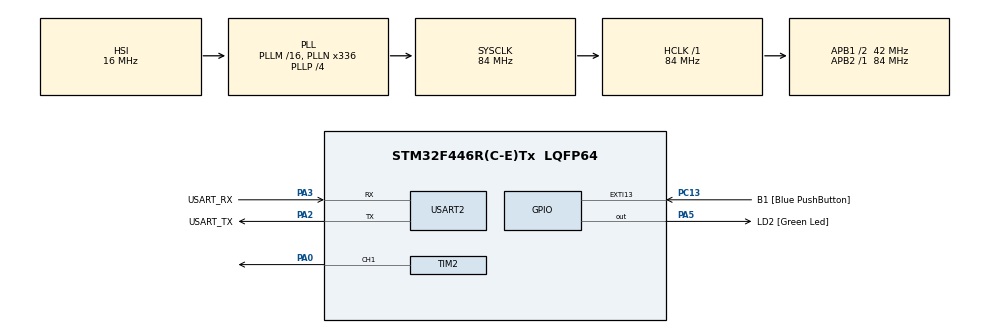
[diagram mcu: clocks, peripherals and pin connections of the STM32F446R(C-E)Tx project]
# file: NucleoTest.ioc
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Mcu.Family=STM32F4
Mcu.Name=STM32F446R(C-E)Tx
Mcu.Package=LQFP64
NVIC.PriorityGroup=NVIC_PRIORITYGROUP_0
PA0-WKUP.Signal=S_TIM2_CH1_ETR
PA13.GPIO_Label=TMS
PA13.Mode=Serial_Wire
PA13.Signal=SYS_JTMS-SWDIO
PA14.GPIO_Label=TCK
PA14.Mode=Serial_Wire
PA14.Signal=SYS_JTCK-SWCLK
PA2.GPIO_Label=USART_TX
PA2.Mode=Asynchronous
PA2.Signal=USART2_TX
PA3.GPIO_Label=USART_RX
PA3.Mode=Asynchronous
PA3.Signal=USART2_RX
PA5.GPIO_Label=LD2 [Green Led]
PA5.Signal=GPIO_Output
PB3.GPIO_Label=SWO
PB3.Signal=SYS_JTDO-SWO
PC13.GPIO_Label=B1 [Blue PushButton]
PC13.GPIO_ModeDefaultEXTI=GPIO_MODE_IT_FALLING
PC13.Signal=GPXTI13
PC14-OSC32_IN.Mode=LSE-External-Oscillator
PC14-OSC32_IN.Signal=RCC_OSC32_IN
PC15-OSC32_OUT.Mode=LSE-External-Oscillator
PC15-OSC32_OUT.Signal=RCC_OSC32_OUT
PH0-OSC_IN.Mode=HSE-External-Oscillator
PH0-OSC_IN.Signal=RCC_OSC_IN
PH1-OSC_OUT.Mode=HSE-External-Oscillator
PH1-OSC_OUT.Signal=RCC_OSC_OUT
ProjectManager.HeapSize=0x200
ProjectManager.StackSize=0x400
ProjectManager.TargetToolchain=STM32CubeIDE
RCC.48MHZClocksFreq_Value=84000000
RCC.AHBFreq_Value=84000000
RCC.APB1CLKDivider=RCC_HCLK_DIV2
RCC.APB1Freq_Value=42000000
RCC.APB1TimFreq_Value=84000000
RCC.APB2Freq_Value=84000000
RCC.APB2TimFreq_Value=84000000
RCC.CortexFreq_Value=84000000
RCC.FLatency-AdvancedSettings=FLASH_LATENCY_2
RCC.HCLKFreq_Value=84000000
RCC.HSE_VALUE=8000000
RCC.HSI_VALUE=16000000
RCC.PLLN=336
RCC.PLLP=RCC_PLLP_DIV4
RCC.SYSCLKFreq_VALUE=84000000
RCC.SYSCLKSource=RCC_SYSCLKSOURCE_PLLCLK
RCC.USBFreq_Value=168000000
RCC.VCOOutputFreq_Value=336000000
SH.S_TIM2_CH1_ETR.0=TIM2_CH1,PWM Generation1 CH1
TIM2.Channel-PWM\ Generation1\ CH1=TIM_CHANNEL_1
TIM2.Period=19999
TIM2.Prescaler=89
USART2.VirtualMode=VM_ASYNC
VP_TIM2_VS_ClockSourceINT.Mode=Internal
board=NUCLEO-F446RE

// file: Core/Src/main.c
/* USER CODE BEGIN Header */
/**
 ******************************************************************************
 * @file           : main.c
 * @brief          : Main program body
 ******************************************************************************
 * @attention
 *
 * Copyright (c) 2025 STMicroelectronics.
 * All rights reserved.
 *
 * This software is licensed under terms that can be found in the LICENSE file
 * in the root directory of this software component.
 * If no LICENSE file comes with this software, it is provided AS-IS.
 *
 ******************************************************************************
 */
/* USER CODE END Header */
#include "main.h"

/* USER CODE BEGIN Includes */
#include <stdint.h>

/* USER CODE END Includes */

TIM_HandleTypeDef htim2;

UART_HandleTypeDef huart2;

void SystemClock_Config(void);
static void MX_GPIO_Init(void);
static void MX_USART2_UART_Init(void);
static void MX_TIM2_Init(void);

int main(void) {

    /* MCU Configuration--------------------------------------------------------*/

    /* Reset of all peripherals, Initializes the Flash interface and the Systick. */
    HAL_Init();

    /* Configure the system clock */
    SystemClock_Config();

    /* Initialize all configured peripherals */
    MX_GPIO_Init();
    MX_USART2_UART_Init();
    MX_TIM2_Init();
    /* USER CODE BEGIN 2 */
    HAL_TIM_PWM_Start(&htim2, TIM_CHANNEL_1);

    /* USER CODE END 2 */

    /* Infinite loop */
    /* USER CODE BEGIN WHILE */
    uint16_t pwm_values[]    = {1500, 1550};
	const size_t pwm_values_len = 2;
    uint8_t pwm_values_idx   = 0;
    uint8_t b1_last_state    = 0;
    uint32_t last_press_tick = 0;
    HAL_GPIO_WritePin(LD2_GPIO_Port, LD2_Pin, pwm_values_idx == 0 ? GPIO_PIN_SET : GPIO_PIN_RESET);
    while (1) {
        /* USER CODE END WHILE */

        /* USER CODE BEGIN 3 */
        uint8_t button_state = HAL_GPIO_ReadPin(B1_GPIO_Port, B1_Pin);

        uint32_t now = HAL_GetTick();
        if (button_state == GPIO_PIN_SET && b1_last_state == GPIO_PIN_RESET) {
            if (now - last_press_tick > 200) // debounce
            {
                pwm_values_idx = (pwm_values_idx + 1) % pwm_values_len;

                __HAL_TIM_SET_COMPARE(&htim2, TIM_CHANNEL_1, pwm_values[pwm_values_idx]);
                HAL_GPIO_WritePin(LD2_GPIO_Port,
                                  LD2_Pin,
                                  pwm_values_idx == 0 ? GPIO_PIN_SET : GPIO_PIN_RESET);

                last_press_tick = now;
            }
        }

        b1_last_state = button_state;

        //		__HAL_TIM_SET_COMPARE(&htim2, TIM_CHANNEL_1, pwm_values[pwm_values_idx]);
        //		HAL_GPIO_TogglePin(LD2_GPIO_Port, LD2_Pin);

        //		HAL_Delay(200);
    }
    /* USER CODE END 3 */
}

void SystemClock_Config(void) {
    RCC_OscInitTypeDef RCC_OscInitStruct = {0};
    RCC_ClkInitTypeDef RCC_ClkInitStruct = {0};

    /** Configure the main internal regulator output voltage
	 */
    __HAL_RCC_PWR_CLK_ENABLE();
    __HAL_PWR_VOLTAGESCALING_CONFIG(PWR_REGULATOR_VOLTAGE_SCALE3);

    /** Initializes the RCC Oscillators according to the specified parameters
	 * in the RCC_OscInitTypeDef structure.
	 */
    RCC_OscInitStruct.OscillatorType      = RCC_OSCILLATORTYPE_HSI;
    RCC_OscInitStruct.HSIState            = RCC_HSI_ON;
    RCC_OscInitStruct.HSICalibrationValue = RCC_HSICALIBRATION_DEFAULT;
    RCC_OscInitStruct.PLL.PLLState        = RCC_PLL_ON;
    RCC_OscInitStruct.PLL.PLLSource       = RCC_PLLSOURCE_HSI;
    RCC_OscInitStruct.PLL.PLLM            = 16;
    RCC_OscInitStruct.PLL.PLLN            = 336;
    RCC_OscInitStruct.PLL.PLLP            = RCC_PLLP_DIV4;
    RCC_OscInitStruct.PLL.PLLQ            = 2;
    RCC_OscInitStruct.PLL.PLLR            = 2;
    if (HAL_RCC_OscConfig(&RCC_OscInitStruct) != HAL_OK) {
        Error_Handler();
    }

    /** Initializes the CPU, AHB and APB buses clocks
	 */
    RCC_ClkInitStruct.ClockType =
        RCC_CLOCKTYPE_HCLK | RCC_CLOCKTYPE_SYSCLK | RCC_CLOCKTYPE_PCLK1 | RCC_CLOCKTYPE_PCLK2;
    RCC_ClkInitStruct.SYSCLKSource   = RCC_SYSCLKSOURCE_PLLCLK;
    RCC_ClkInitStruct.AHBCLKDivider  = RCC_SYSCLK_DIV1;
    RCC_ClkInitStruct.APB1CLKDivider = RCC_HCLK_DIV2;
    RCC_ClkInitStruct.APB2CLKDivider = RCC_HCLK_DIV1;

    if (HAL_RCC_ClockConfig(&RCC_ClkInitStruct, FLASH_LATENCY_2) != HAL_OK) {
        Error_Handler();
    }
}

static void MX_TIM2_Init(void) {

    TIM_ClockConfigTypeDef sClockSourceConfig = {0};
    TIM_MasterConfigTypeDef sMasterConfig     = {0};
    TIM_OC_InitTypeDef sConfigOC              = {0};

    htim2.Instance               = TIM2;
    htim2.Init.Prescaler         = 89;
    htim2.Init.CounterMode       = TIM_COUNTERMODE_UP;
    htim2.Init.Period            = 19999;
    htim2.Init.ClockDivision     = TIM_CLOCKDIVISION_DIV1;
    htim2.Init.AutoReloadPreload = TIM_AUTORELOAD_PRELOAD_DISABLE;
    if (HAL_TIM_Base_Init(&htim2) != HAL_OK) {
        Error_Handler();
    }
    sClockSourceConfig.ClockSource = TIM_CLOCKSOURCE_INTERNAL;
    if (HAL_TIM_ConfigClockSource(&htim2, &sClockSourceConfig) != HAL_OK) {
        Error_Handler();
    }
    if (HAL_TIM_PWM_Init(&htim2) != HAL_OK) {
        Error_Handler();
    }
    sMasterConfig.MasterOutputTrigger = TIM_TRGO_RESET;
    sMasterConfig.MasterSlaveMode     = TIM_MASTERSLAVEMODE_DISABLE;
    if (HAL_TIMEx_MasterConfigSynchronization(&htim2, &sMasterConfig) != HAL_OK) {
        Error_Handler();
    }
    sConfigOC.OCMode     = TIM_OCMODE_PWM1;
    sConfigOC.Pulse      = 0;
    sConfigOC.OCPolarity = TIM_OCPOLARITY_HIGH;
    sConfigOC.OCFastMode = TIM_OCFAST_DISABLE;
    if (HAL_TIM_PWM_ConfigChannel(&htim2, &sConfigOC, TIM_CHANNEL_1) != HAL_OK) {
        Error_Handler();
    }
    HAL_TIM_MspPostInit(&htim2);
}

static void MX_USART2_UART_Init(void) {

    huart2.Instance          = USART2;
    huart2.Init.BaudRate     = 115200;
    huart2.Init.WordLength   = UART_WORDLENGTH_8B;
    huart2.Init.StopBits     = UART_STOPBITS_1;
    huart2.Init.Parity       = UART_PARITY_NONE;
    huart2.Init.Mode         = UART_MODE_TX_RX;
    huart2.Init.HwFlowCtl    = UART_HWCONTROL_NONE;
    huart2.Init.OverSampling = UART_OVERSAMPLING_16;
    if (HAL_UART_Init(&huart2) != HAL_OK) {
        Error_Handler();
    }
}

static void MX_GPIO_Init(void) {
    GPIO_InitTypeDef GPIO_InitStruct = {0};

    /* GPIO Ports Clock Enable */
    __HAL_RCC_GPIOC_CLK_ENABLE();
    __HAL_RCC_GPIOH_CLK_ENABLE();
    __HAL_RCC_GPIOA_CLK_ENABLE();
    __HAL_RCC_GPIOB_CLK_ENABLE();

    /*Configure GPIO pin Output Level */
    HAL_GPIO_WritePin(LD2_GPIO_Port, LD2_Pin, GPIO_PIN_RESET);

    /*Configure GPIO pin : B1_Pin */
    GPIO_InitStruct.Pin  = B1_Pin;
    GPIO_InitStruct.Mode = GPIO_MODE_IT_FALLING;
    GPIO_InitStruct.Pull = GPIO_NOPULL;
    HAL_GPIO_Init(B1_GPIO_Port, &GPIO_InitStruct);

    /*Configure GPIO pin : LD2_Pin */
    GPIO_InitStruct.Pin   = LD2_Pin;
    GPIO_InitStruct.Mode  = GPIO_MODE_OUTPUT_PP;
    GPIO_InitStruct.Pull  = GPIO_NOPULL;
    GPIO_InitStruct.Speed = GPIO_SPEED_FREQ_LOW;
    HAL_GPIO_Init(LD2_GPIO_Port, &GPIO_InitStruct);

}

void Error_Handler(void) {
    __disable_irq();
    while (1) {}
}
